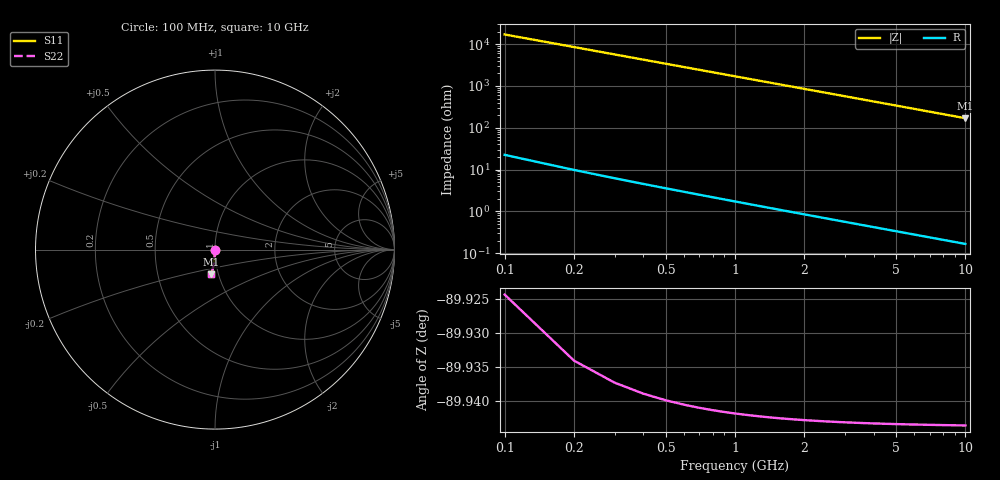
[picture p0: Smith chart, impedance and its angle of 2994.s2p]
# Hz S RI R 50.00
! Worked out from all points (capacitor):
!   100 points, 100 MHz to 10 GHz, reference 50 ohm
!   read as one part in shunt: C = 93.5 fF near 100 MHz
!   lowest |Z| = 169 ohm at 10 GHz (marker M1)
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1e8  1.67e-05 -0.00141  1 -0.00153  1 -0.00153  1.67e-05 -0.00141
2e8  8.96e-06 -0.00282  1 -0.00306  1 -0.00306  8.96e-06 -0.00282
3e8  -3.16e-06 -0.00423  1 -0.00459  1 -0.00459  -3.16e-06 -0.00423
4e8  -1.96e-05 -0.00563  0.9999 -0.00612  0.9999 -0.00612  -1.96e-05 -0.00563
5e8  -4.04e-05 -0.00704  0.9999 -0.00765  0.9999 -0.00765  -4.04e-05 -0.00704
6e8  -6.55e-05 -0.00845  0.9999 -0.00918  0.9999 -0.00918  -6.55e-05 -0.00845
7e8  -9.49e-05 -0.00986  0.9999 -0.0107  0.9999 -0.0107  -9.49e-05 -0.00986
8e8  -0.000129 -0.0113  0.9998 -0.0122  0.9998 -0.0122  -0.000129 -0.0113
9e8  -0.000167 -0.0127  0.9998 -0.0138  0.9998 -0.0138  -0.000167 -0.0127
1.1e9  -0.000256 -0.0155  0.9997 -0.0168  0.9997 -0.0168  -0.000256 -0.0155
1.4e9  -0.000422 -0.0197  0.9995 -0.0214  0.9995 -0.0214  -0.000422 -0.0197
1.8e9  -0.000703 -0.0254  0.9993 -0.0275  0.9993 -0.0275  -0.000703 -0.0254
2.1e9  -0.00096 -0.0296  0.999 -0.0321  0.999 -0.0321  -0.00096 -0.0296
2.5e9  -0.00136 -0.0352  0.9986 -0.0382  0.9986 -0.0382  -0.00136 -0.0352
2.9e9  -0.00183 -0.0408  0.9981 -0.0444  0.9981 -0.0444  -0.00183 -0.0408
3.4e9  -0.00252 -0.0478  0.9974 -0.052  0.9974 -0.052  -0.00252 -0.0478
4.2e9  -0.00384 -0.0591  0.9961 -0.0642  0.9961 -0.0642  -0.00384 -0.0591
5.1e9  -0.00566 -0.0716  0.9943 -0.0778  0.9943 -0.0778  -0.00566 -0.0716
5.9e9  -0.00756 -0.0827  0.9924 -0.09  0.9924 -0.09  -0.00756 -0.0827
6.7e9  -0.00974 -0.0938  0.9902 -0.102  0.9902 -0.102  -0.00974 -0.0938
8.4e9  -0.0152 -0.1171  0.9847 -0.1274  0.9847 -0.1274  -0.0152 -0.1171
1e10  -0.0215 -0.1386  0.9784 -0.1509  0.9784 -0.1509  -0.0215 -0.1386
